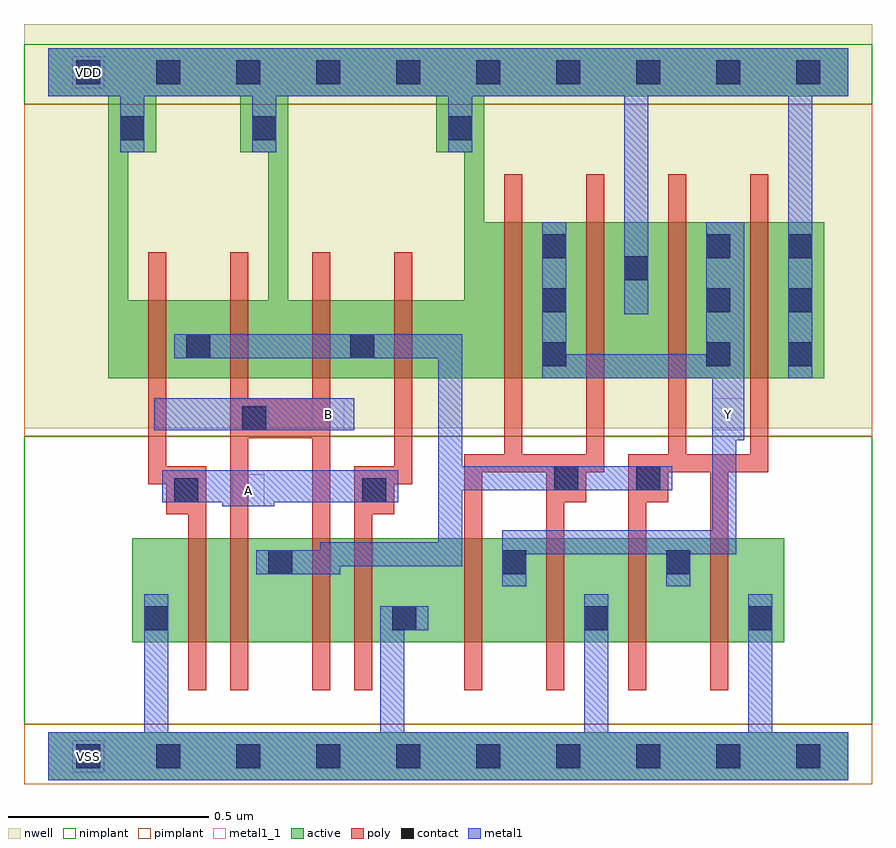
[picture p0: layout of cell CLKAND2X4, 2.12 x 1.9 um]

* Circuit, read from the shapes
.subckt CLKAND2X4 A B VDD VSS Y
M1 n1 A VSS VSS nfet w=0.26u l=0.045u
M2 n2 B n1 VSS nfet w=0.26u l=0.045u
M3 n3 B n2 VSS nfet w=0.26u l=0.045u
M4 VSS A n3 VSS nfet w=0.26u l=0.045u
M5 Y n2 VSS VSS nfet w=0.26u l=0.045u m=4
M6 n2 A VDD VDD pfet w=0.195u l=0.045u m=2
M7 VDD B n2 VDD pfet w=0.195u l=0.045u m=2
M8 Y n2 VDD VDD pfet w=0.39u l=0.045u m=4
.ends

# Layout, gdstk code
import gdstk
lib = gdstk.Library(unit=1e-6, precision=5e-10)
def R(c, l, rs):  # rectangles x0, y0, x1, y1
    for r in rs: c.add(gdstk.rectangle(r[:2], r[2:], *l))
def A(c, l, x, y, w, h, nx, ny, dx, dy):  # array of equal rectangles
    R(c, l, [(x+i*dx, y+j*dy, x+i*dx+w, y+j*dy+h) for i in range(nx) for j in range(ny)])
def P(c, l, *ps):  # polygons
    for p in ps: c.add(gdstk.Polygon(p, *l))
active = (1, 0)
nwell = (2, 0)
poly = (3, 0)
nimplant = (4, 0)
pimplant = (5, 0)
contact = (6, 0)
metal1 = (7, 0)
metal1_1 = (7, 1)

clkand2x4 = lib.new_cell('CLKAND2X4')
R(clkand2x4, active, [(0,-0.06,2,0.06), (0.21,0.285,1.84,0.545)])
P(clkand2x4, active, [(0,1.77),(2,1.77),(2,1.65),(1.09,1.65),(1.09,1.335),(1.94,1.335),(1.94,0.945),(0.15,0.945),(0.15,1.65),(0.27,1.65),(0.27,1.51),(0.2,1.51),(0.2,1.14),(0.55,1.14),(0.55,1.51),(0.48,1.51),(0.48,1.65),(0.6,1.65),(0.6,1.14),(1.04,1.14),(1.04,1.51),(0.97,1.51),(0.97,1.65),(0,1.65)])
R(clkand2x4, nwell, [(-0.06,0.82,2.06,1.83)])
P(clkand2x4, poly, [(1.14,1.455),(1.185,1.455),(1.185,0.755),(1.345,0.755),(1.345,1.455),(1.39,1.455),(1.39,0.71),(1.345,0.71),(1.345,0.635),(1.29,0.635),(1.29,0.165),(1.245,0.165),(1.245,0.71),(1.085,0.71),(1.085,0.165),(1.04,0.165),(1.04,0.755),(1.14,0.755)],
  [(1.55,1.455),(1.595,1.455),(1.595,0.755),(1.755,0.755),(1.755,1.455),(1.8,1.455),(1.8,0.71),(1.7,0.71),(1.7,0.165),(1.655,0.165),(1.655,0.71),(1.55,0.71),(1.55,0.635),(1.495,0.635),(1.495,0.165),(1.45,0.165),(1.45,0.755),(1.55,0.755)],
  [(0.25,1.26),(0.295,1.26),(0.295,0.725),(0.395,0.725),(0.395,0.165),(0.35,0.165),(0.35,0.605),(0.295,0.605),(0.295,0.68),(0.25,0.68)],
  [(0.455,1.26),(0.5,1.26),(0.5,0.895),(0.66,0.895),(0.66,1.26),(0.705,1.26),(0.705,0.165),(0.66,0.165),(0.66,0.795),(0.5,0.795),(0.5,0.165),(0.455,0.165)],
  [(0.865,1.26),(0.91,1.26),(0.91,0.68),(0.865,0.68),(0.865,0.605),(0.81,0.605),(0.81,0.165),(0.765,0.165),(0.765,0.725),(0.865,0.725)])
R(clkand2x4, nimplant, [(-0.06,0.08,2.06,0.8), (-0.06,1.63,2.06,1.78)])
R(clkand2x4, pimplant, [(-0.06,-0.07,2.06,0.08), (-0.06,0.8,2.06,1.63)])
A(clkand2x4, contact, 0.07, -0.03, 0.06, 0.06, 10, 2, 0.2, 1.71)
A(clkand2x4, contact, 1.235, 0.975, 0.06, 0.06, 1, 3, 0, 0.135)
A(clkand2x4, contact, 1.645, 0.975, 0.06, 0.06, 1, 3, 0, 0.135)
A(clkand2x4, contact, 1.85, 0.975, 0.06, 0.06, 1, 3, 0, 0.135)
R(clkand2x4, contact, [(0.24,0.315,0.3,0.375), (0.86,0.315,0.92,0.375), (1.34,0.315,1.4,0.375), (1.75,0.315,1.81,0.375), (0.55,0.455,0.61,0.515), (1.135,0.455,1.195,0.515), (1.545,0.455,1.605,0.515), (0.315,0.635,0.375,0.695), (0.785,0.635,0.845,0.695), (1.265,0.665,1.325,0.725), (1.47,0.665,1.53,0.725), (0.485,0.815,0.545,0.875), (0.345,0.995,0.405,1.055), (0.755,0.995,0.815,1.055), (1.44,1.19,1.5,1.25), (0.18,1.54,0.24,1.6), (0.51,1.54,0.57,1.6), (1,1.54,1.06,1.6)])
R(clkand2x4, metal1, [(0.265,0.815,0.765,0.895)])
P(clkand2x4, metal1, [(0,1.77),(2,1.77),(2,1.65),(1.91,1.65),(1.91,0.945),(1.85,0.945),(1.85,1.65),(1.5,1.65),(1.5,1.105),(1.44,1.105),(1.44,1.65),(1.06,1.65),(1.06,1.51),(1,1.51),(1,1.65),(0.57,1.65),(0.57,1.51),(0.51,1.51),(0.51,1.65),(0.24,1.65),(0.24,1.51),(0.18,1.51),(0.18,1.65),(0,1.65)],
  [(1.235,1.335),(1.295,1.335),(1.295,1.005),(1.645,1.005),(1.645,1.335),(1.74,1.335),(1.74,0.79),(1.72,0.79),(1.72,0.505),(1.605,0.505),(1.605,0.425),(1.545,0.425),(1.545,0.505),(1.195,0.505),(1.195,0.425),(1.135,0.425),(1.135,0.565),(1.66,0.565),(1.66,0.945),(1.235,0.945)],
  [(0.315,1.055),(1.035,1.055),(1.035,0.725),(1.56,0.725),(1.56,0.665),(1.035,0.665),(1.035,0.475),(0.73,0.475),(0.73,0.455),(0.52,0.455),(0.52,0.515),(0.68,0.515),(0.68,0.535),(0.975,0.535),(0.975,0.995),(0.315,0.995)],
  [(0.285,0.715),(0.875,0.715),(0.875,0.635),(0.565,0.635),(0.565,0.625),(0.435,0.625),(0.435,0.635),(0.285,0.635)],
  [(0.24,0.405),(0.3,0.405),(0.3,0.06),(0.83,0.06),(0.83,0.375),(0.95,0.375),(0.95,0.315),(0.89,0.315),(0.89,0.06),(1.34,0.06),(1.34,0.405),(1.4,0.405),(1.4,0.06),(1.75,0.06),(1.75,0.405),(1.81,0.405),(1.81,0.06),(2,0.06),(2,-0.06),(0,-0.06),(0,0.06),(0.24,0.06)])
R(clkand2x4, metal1_1, [(0.06,-0.04,0.14,0.04), (0.46,0.625,0.54,0.705), (0.66,0.815,0.74,0.895), (1.66,0.815,1.74,0.895), (0.06,1.67,0.14,1.75)])
clkand2x4.add(gdstk.Label('Y', (1.7,0.855), layer=7, texttype=1))
clkand2x4.add(gdstk.Label('B', (0.7,0.855), layer=7, texttype=1))
clkand2x4.add(gdstk.Label('A', (0.5,0.665), layer=7, texttype=1))
clkand2x4.add(gdstk.Label('VDD', (0.1,1.71), layer=7, texttype=1))
clkand2x4.add(gdstk.Label('VSS', (0.1,0), layer=7, texttype=1))
clkand2x4.add(gdstk.Label('CLKAND2X4', (0,0), layer=63, texttype=0))

lib.write_gds('CLKAND2X4.gds')
